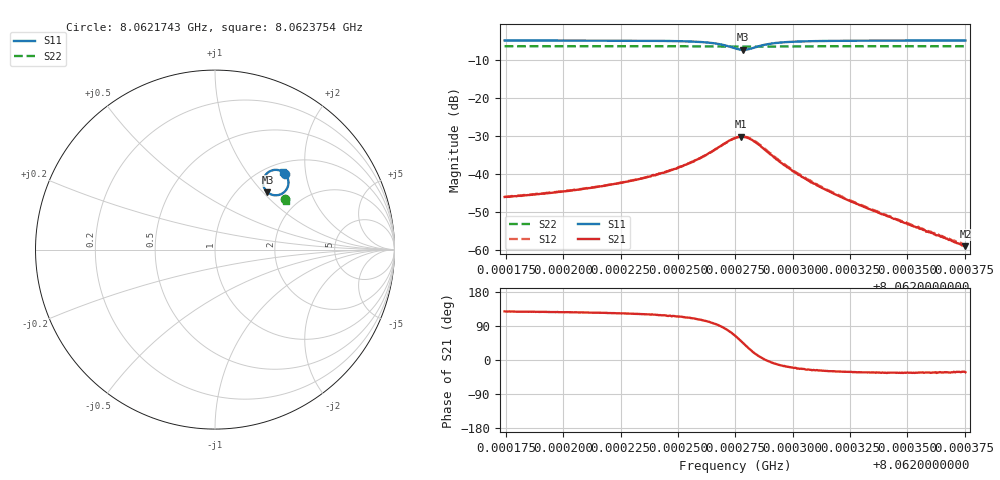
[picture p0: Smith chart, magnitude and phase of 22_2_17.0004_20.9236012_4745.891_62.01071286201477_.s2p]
#  HZ  S  RI  R  50.00
! Rohde & Schwarz Vector Network Analyzer
! Rohde-Schwarz,ZNB20-2Port,1311601062101988,3.16
! Created: UTC 3/20/2024, 10:53:02 PM
! freq[Hz]  re:S11  im:S11  re:S21  im:S21  re:S12  im:S12  re:S22  im:S22
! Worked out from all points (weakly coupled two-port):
!   401 points, 8.0621743 GHz to 8.0623754 GHz, reference 50 ohm
!   highest |S21| = -30.22 dB at 8.0622774 GHz (marker M1); lowest = -59.1 dB at 8.0623754 GHz (marker M2)
!   lowest |S11| = -7.3 dB at 8.0622784 GHz (marker M3), VSWR 2.53, Z = 67.4 + j53 ohm
!   |S11| at or under -10 dB: nowhere
!   |S22| runs from -6.4 to -6.3 dB; largest |S21 - S12| = 0.0012
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8.06217433e9  0.3895 0.4233  -0.00306 0.00388  -0.00283 0.00408  0.3921 0.281
8.06219242e9  0.3923 0.4201  -0.00333 0.00444  -0.00309 0.00465  0.3928 0.2801
8.062208e9  0.3952 0.4165  -0.00366 0.0051  -0.00333 0.00534  0.3932 0.279
8.06222811e9  0.4001 0.4087  -0.00426 0.00667  -0.00389 0.00695  0.3939 0.2778
8.06224168e9  0.4047 0.3989  -0.00473 0.00877  -0.0044 0.00912  0.3943 0.2766
8.06224922e9  0.4075 0.3898  -0.00488 0.0106  -0.00446 0.0109  0.3947 0.2758
8.06225726e9  0.4093 0.3737  -0.00491 0.0141  -0.00417 0.0144  0.3946 0.2748
8.06226179e9  0.408 0.3594  -0.00408 0.017  -0.00313 0.017  0.3946 0.2741
8.06226782e9  0.3957 0.3315  -0.0005 0.0225  0.000503 0.0225  0.394 0.273
8.06227134e9  0.3747 0.3124  0.00458 0.0257  0.00562 0.0255  0.3929 0.2722
8.06227486e9  0.3371 0.3026  0.0129 0.0267  0.0139 0.0263  0.3912 0.2721
8.06227737e9  0.3041 0.3115  0.0196 0.0238  0.0204 0.0234  0.3902 0.2727
8.06227838e9  0.2923 0.3196  0.0218 0.0217  0.0227 0.0213  0.3898 0.2731
8.06228039e9  0.2748 0.3421  0.0247 0.0164  0.0258 0.0159  0.3895 0.2743
8.0622829e9  0.2675 0.3737  0.0255 0.00924  0.0263 0.00871  0.3896 0.2756
8.06228994e9  0.2934 0.4282  0.0184 -0.0013  0.0188 -0.00231  0.3916 0.2773
8.06229547e9  0.3164 0.4408  0.0132 -0.00346  0.0133 -0.00427  0.3929 0.2773
8.06230099e9  0.3325 0.4442  0.00971 -0.00368  0.00971 -0.00434  0.3941 0.2768
8.06230853e9  0.3463 0.444  0.00689 -0.00351  0.00686 -0.00392  0.3948 0.2763
8.06232311e9  0.3612 0.4407  0.00398 -0.0024  0.0039 -0.00268  0.3957 0.2752
8.06234221e9  0.3708 0.4367  0.00226 -0.0015  0.00221 -0.00167  0.3967 0.2741
8.06237539e9  0.3792 0.4318  0.000937 -0.000593  0.000939 -0.000661  0.3979 0.2721
